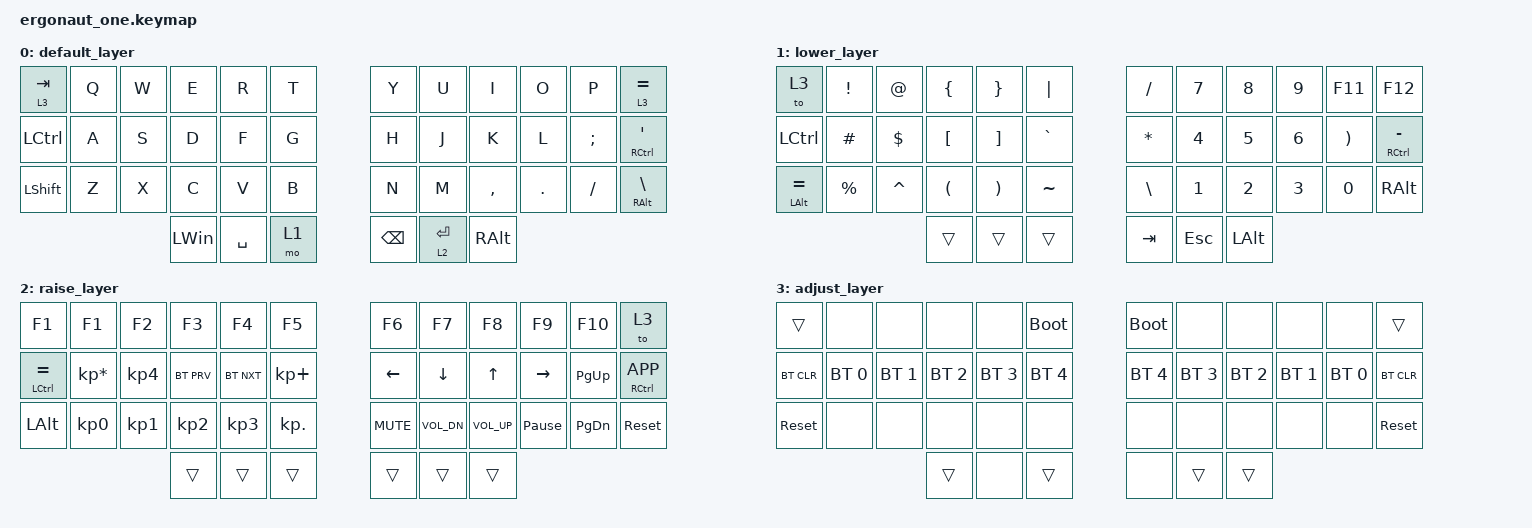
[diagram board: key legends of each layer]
#include <behaviors.dtsi>
#include <dt-bindings/zmk/bt.h>
#include <dt-bindings/zmk/keys.h>

#define DEF 0
#define LWR 1
#define RSE 2
#define ADJ 3

&lt { quick-tap-ms = <200>; };

&mt { quick-tap-ms = <200>; };

/ {
    conditional_layers { compatible = "zmk,conditional-layers"; };

    combos {
        compatible = "zmk,combos";

        bootl {
            bindings = <&bootloader>;
            key-positions = <0 5 24>;
        };

        bootr {
            bindings = <&bootloader>;
            key-positions = <6 11 35>;
        };
    };

    keymap {
        compatible = "zmk,keymap";

        default_layer {
            bindings = <
&lt 3 TAB       &kp Q  &kp W  &kp E         &kp R      &kp T  &kp Y          &kp U        &kp I      &kp O    &kp P     &lt 3 EQUAL
&kp LCTRL       &kp A  &kp S  &kp D         &kp F      &kp G  &kp H          &kp J        &kp K      &kp L    &kp SEMI  &mt RCTRL SQT
&kp LEFT_SHIFT  &kp Z  &kp X  &kp C         &kp V      &kp B  &kp N          &kp M        &kp COMMA  &kp DOT  &kp FSLH  &mt RALT BSLH
                              &kp LEFT_WIN  &kp SPACE  &mo 1  &kp BACKSPACE  &lt 2 ENTER  &kp RALT
            >;
        };

        lower_layer {
            bindings = <
&to 3           &kp EXCL   &kp AT_SIGN  &kp LEFT_BRACE        &kp RIGHT_BRACE        &kp PIPE   &kp SLASH      &kp N7        &kp N8        &kp N9        &kp F11   &kp F12
&kp LCTRL       &kp HASH   &kp DOLLAR   &kp LEFT_BRACKET      &kp RIGHT_BRACKET      &kp GRAVE  &kp STAR       &kp NUMBER_4  &kp N5        &kp NUMBER_6  &kp RPAR  &mt RCTRL MINUS
&mt LALT EQUAL  &kp PRCNT  &kp CARET    &kp LEFT_PARENTHESIS  &kp RIGHT_PARENTHESIS  &kp TILDE  &kp BACKSLASH  &kp NUMBER_1  &kp NUMBER_2  &kp NUMBER_3  &kp N0    &kp RALT
                                        &trans                &trans                 &trans     &kp TAB        &kp ESCAPE    &kp LEFT_ALT
            >;
        };

        raise_layer {
            bindings = <
&kp F1           &kp F1           &kp F2     &kp F3      &kp F4      &kp F5       &kp F6      &kp F7          &kp F8           &kp F9           &kp F10        &to 3
&mt LCTRL EQUAL  &kp KP_MULTIPLY  &kp KP_N4  &bt BT_PRV  &bt BT_NXT  &kp KP_PLUS  &kp LEFT    &kp DOWN_ARROW  &kp UP           &kp RIGHT        &kp PAGE_UP    &mt RCTRL K_APP
&kp LALT         &kp KP_N0        &kp KP_N1  &kp KP_N2   &kp KP_N3   &kp KP_DOT   &kp K_MUTE  &kp C_VOL_DN    &kp C_VOLUME_UP  &kp PAUSE_BREAK  &kp PAGE_DOWN  &sys_reset
                                             &trans      &trans      &trans       &trans      &trans          &trans
            >;
        };

        adjust_layer {
            bindings = <
&trans      &none         &none         &none         &none         &bootloader   &bootloader   &none         &none         &none         &none         &trans
&bt BT_CLR  &bt BT_SEL 0  &bt BT_SEL 1  &bt BT_SEL 2  &bt BT_SEL 3  &bt BT_SEL 4  &bt BT_SEL 4  &bt BT_SEL 3  &bt BT_SEL 2  &bt BT_SEL 1  &bt BT_SEL 0  &bt BT_CLR
&sys_reset  &none         &none         &none         &none         &none         &none         &none         &none         &none         &none         &sys_reset
                                        &trans        &none         &trans        &none         &trans        &trans
            >;
        };
    };
};
